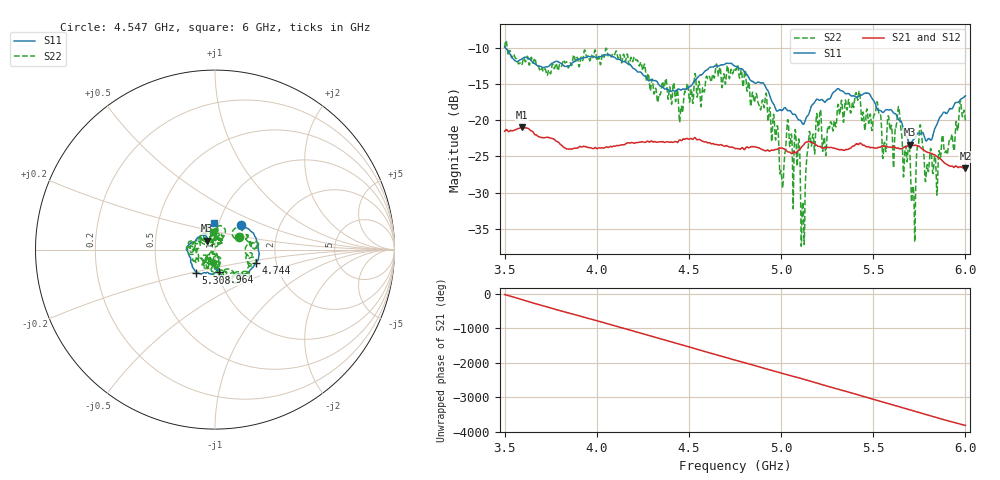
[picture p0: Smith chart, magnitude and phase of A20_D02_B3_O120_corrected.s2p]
! Created with skrf 1.9.0 (http://scikit-rf.org).
# Hz S RI R 50.0
!freq ReS11 ImS11 ReS21 ImS21 ReS12 ImS12 ReS22 ImS22
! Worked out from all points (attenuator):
!   1601 points, 3.5 GHz to 6 GHz, reference 50 ohm
!   highest |S21| = -20.97 dB at 3.592 GHz (marker M1); lowest = -26.6 dB at 6 GHz (marker M2)
!   lowest |S11| = -23.4 dB at 5.7 GHz (marker M3), VSWR 1.15, Z = 45.4 + j4.61 ohm
!   |S11| at or under -10 dB: 3.505 GHz to end of sweep
!   |S22| runs from -37.4 to -9.0 dB; largest |S21 - S12| = 0.00097
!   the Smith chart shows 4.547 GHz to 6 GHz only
!   S11 on the Smith chart (normalised r, x): 4.547 GHz: 1.28, +0.36; 4.744 GHz: 1.56, -0.25; 4.964 GHz: 1.01, -0.26; 5.308 GHz: 0.79, -0.21; 6 GHz: 0.94, +0.28
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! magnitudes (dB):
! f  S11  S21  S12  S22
! 3.5 GHz  -9.9  -21.5  -21.5  -10.0
! 3.592 GHz  -11.6  -21.0  -21.0  -12.4
! 3.917 GHz  -11.5  -23.7  -23.7  -11.3
! 4.211 GHz  -13.0  -23.1  -23.1  -11.6
! 4.334 GHz  -15.0  -23.0  -22.9  -17.0
! 4.547 GHz  -14.1  -22.7  -22.7  -16.5
! 4.744 GHz  -12.5  -23.8  -23.8  -13.0
! 4.75 GHz  -12.5  -23.9  -23.8  -12.9
! 4.964 GHz  -18.0  -24.1  -24.1  -20.4
! 5.003 GHz  -18.7  -23.8  -23.9  -28.0
! 5.033 GHz  -18.6  -24.3  -24.2  -20.5
! 5.088 GHz  -19.7  -24.3  -24.3  -26.3
! 5.119 GHz  -20.5  -23.5  -23.4  -31.4
! 5.167 GHz  -17.9  -23.1  -23.0  -23.1
! 5.308 GHz  -15.6  -24.0  -23.9  -17.9
! 5.584 GHz  -18.6  -23.7  -23.7  -19.6
! 5.641 GHz  -20.0  -23.9  -23.9  -18.4
! 5.7 GHz  -23.4  -23.5  -23.5  -25.2
! 5.717 GHz  -22.7  -23.5  -23.4  -29.1
! 5.752 GHz  -21.9  -23.6  -23.6  -21.0
! 5.838 GHz  -21.0  -24.8  -24.8  -25.2
! 6 GHz  -16.6  -26.6  -26.6  -20.0
